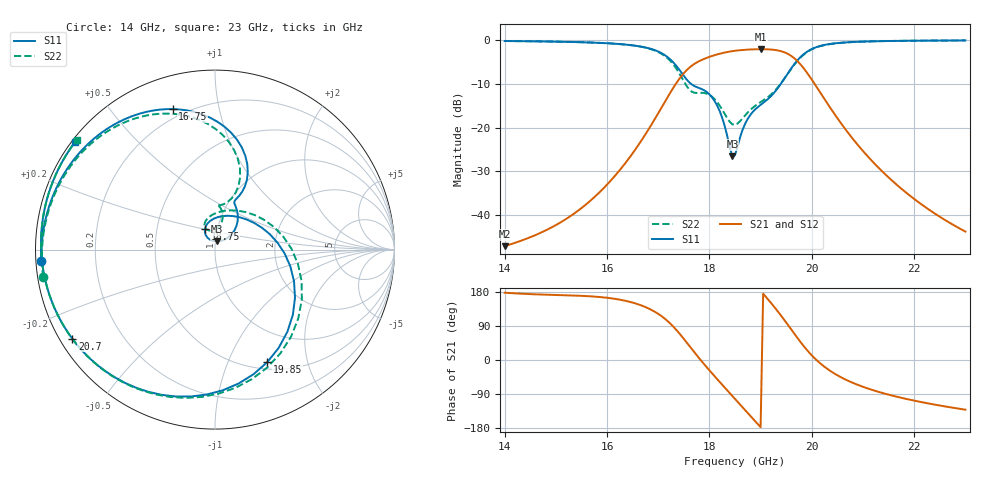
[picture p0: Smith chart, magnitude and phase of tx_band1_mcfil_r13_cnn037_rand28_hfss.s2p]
! Touchstone file exported from HFSS 3D Layout Design 2026.1.0
!  File:  D:/Work/SIM/ADS_AUTO_SIM/projects/RFSOC_RF/TX_Fillter.aedt
!  Generated:  12:22:12 AM Aug 31, 2026
!  Design:  TX_BAND1_MCFIL_R13_CNN037
!  Project:  TX_Fillter
# GHz S MA R 50.000000
! Terminal data exported
! Port[1] = Port1
! Port[2] = Port2
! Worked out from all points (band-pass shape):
!   181 points, 14 GHz to 23 GHz, reference 50 ohm
!   highest |S21| = -2.14 dB at 19 GHz (marker M1); lowest = -47.1 dB at 14 GHz (marker M2)
!   |S21| within 3 dB of the highest: 17.76 GHz to 19.74 GHz (1.985 GHz wide, 10.6 % of centre)
!   lowest |S11| = -26.6 dB at 18.45 GHz (marker M3), VSWR 1.10, Z = 51 + j4.63 ohm
!   |S11| at or under -10 dB: 17.64 GHz to 19.4 GHz (1.761 GHz wide, 9.51 % of centre)
!   |S22| runs from -19.4 to -0.1 dB; largest |S21 - S12| = 1.4e-14
!   S11 on the Smith chart (normalised r, x): 14 GHz: 0.02, -0.03; 16.75 GHz: 0.15, +0.73; 18.75 GHz: 0.87, +0.20; 19.85 GHz: 0.58, -1.40; 20.7 GHz: 0.03, -0.29; 23 GHz: 0.01, +0.34
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14  0.9693 -176.4  0.004439 177.6  0.004439 177.6  0.9701 -170.8
15.5  0.9388 151.5  0.01205 169.3  0.01205 169.3  0.9397 156.8
16.2  0.8991 130.5  0.03019 160.4  0.03019 160.4  0.8995 135.6
16.75  0.818 106.8  0.08355 139.7  0.08355 139.7  0.8147 111.7
17  0.7357 92.2  0.1453 121.8  0.1453 121.8  0.7263 96.6
17.25  0.588 75.3  0.2577 94.3  0.2577 94.3  0.5636 79.1
17.5  0.3882 64.7  0.4162 55.8  0.4162 55.8  0.337 70.0
17.9  0.2653 64.1  0.6076 -11.6  0.6076 -11.6  0.2476 86.4
18.2  0.1545 44.9  0.6941 -57.8  0.6941 -57.8  0.178 76.2
18.45  0.04686 75.4  0.7432 -95.3  0.7432 -95.3  0.1088 93.2
18.5  0.04842 100.5  0.7502 -102.7  0.7502 -102.7  0.1074 100.5
18.75  0.126 116.6  0.7735 -139.7  0.7735 -139.7  0.1488 113.1
19  0.1812 85.4  0.782 -177.3  0.782 -177.3  0.1949 94.2
19.2  0.227 52.4  0.7755 151.1  0.7755 151.1  0.2371 67.3
19.45  0.351 6.2  0.7261 108.1  0.7261 108.1  0.3512 21.2
19.65  0.5199 -31.0  0.6223 71.0  0.6223 71.0  0.5131 -19.9
19.85  0.6919 -65.2  0.4671 35.3  0.4671 35.3  0.6836 -57.9
20  0.7857 -87.0  0.3519 12.1  0.3519 12.1  0.7787 -81.6
20.35  0.8959 -124.0  0.1714 -27.9  0.1714 -27.9  0.8928 -121.5
20.7  0.9373 -148.0  0.08842 -54.2  0.08842 -54.2  0.9362 -146.9
21.5  0.9697 178.3  0.02696 -91.5  0.02696 -91.5  0.9698 178.2
23  0.9834 142.5  0.006509 -131.1  0.006509 -131.1  0.9835 141.5
